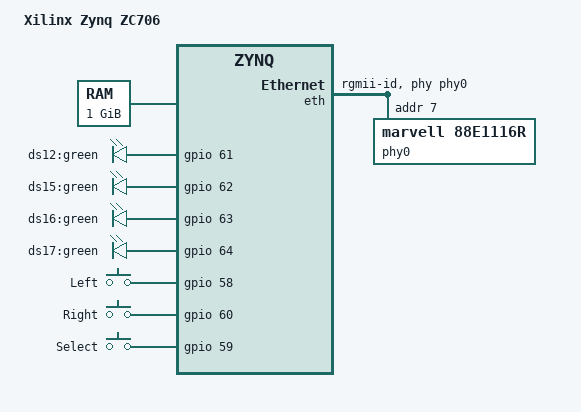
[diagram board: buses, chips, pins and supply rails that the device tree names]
/include/ "zynq.dtsi"

/ {
	model = "Xilinx Zynq ZC706";
	memory {
		device_type = "memory";
		reg = <0x00000000 0x40000000>;
	};

	chosen {
//		bootargs = "console=ttyPS0,115200 root=/dev/mmcblk0p2 rw earlyprintk rootfstype=ext4 rootwait";
// memory size = 512 MB
		bootargs = "console=ttyPS0,115200 mem=512M root=/dev/mmcblk0p2 rw earlyprintk rootfstype=ext4 rootwait";
		linux,stdout-path = "/amba@0/uart@E0001000";
	};

	leds {
		compatible = "gpio-leds";
		ds8 {
			label = "ds12:green";
			gpios = <&gpio 61 0>;
		};

		ds9 {
			label = "ds15:green";
			gpios = <&gpio 62 0>;
		};

		ds10 {
			label = "ds16:green";
			gpios = <&gpio 63 0>;
		};

		ds35 {
			label = "ds17:green";
			gpios = <&gpio 64 0>;
		};
	};

  umem {
     compatible = "dmem-uio";
     reg = < 0x20000000 0x20000000 >; // (address, size)
  };
  slave0 {
    compatible = "dmem-uio";
    reg = < 0x43c00000 0x010000 >; // (address, size)
  };
  slave1 {
    compatible = "dmem-uio";
    reg = < 0x43c10000 0x010000 >; // (address, size)
  };
  slave2 {
    compatible = "dmem-uio";
    reg = < 0x43c20000 0x010000 >; // (address, size)
  };
  slave3 {
    compatible = "dmem-uio";
    reg = < 0x43c30000 0x010000 >; // (address, size)
  };
  slave4 {
    compatible = "dmem-uio";
    reg = < 0x43c40000 0x010000 >; // (address, size)
  };
  slave5 {
    compatible = "dmem-uio";
    reg = < 0x43c50000 0x010000 >; // (address, size)
  };
  slave6 {
    compatible = "dmem-uio";
    reg = < 0x43c60000 0x010000 >; // (address, size)
  };
  slave7 {
    compatible = "dmem-uio";
    reg = < 0x43c70000 0x010000 >; // (address, size)
  };

	gpio_keys {
		compatible = "gpio-keys";
		#address-cells = <1>;
		#size-cells = <0>;
		autorepeat;

		sw7 {
			label = "Left";
			linux,code = <105>; // Left
			gpios = <&gpio 58 0>;
		};

		sw8 {
			label = "Right";
			linux,code = <106>; // Right
			gpios = <&gpio 60 0>;
		};

		sw9 {
			label = "Select";
			linux,code = <28>; // Enter
			gpios = <&gpio 59 0>;
		};
	};
};

&eth {
	phy-handle = <&phy0>;
	phy-mode = "rgmii-id";

	phy0: phy@7 {
		compatible = "marvell,88e1116r";
		device_type = "ethernet-phy";
		reg = <0x7>;
	};
};

&usb {
	xlnx,phy-reset-gpio = <&gpio 7 0>;
};
